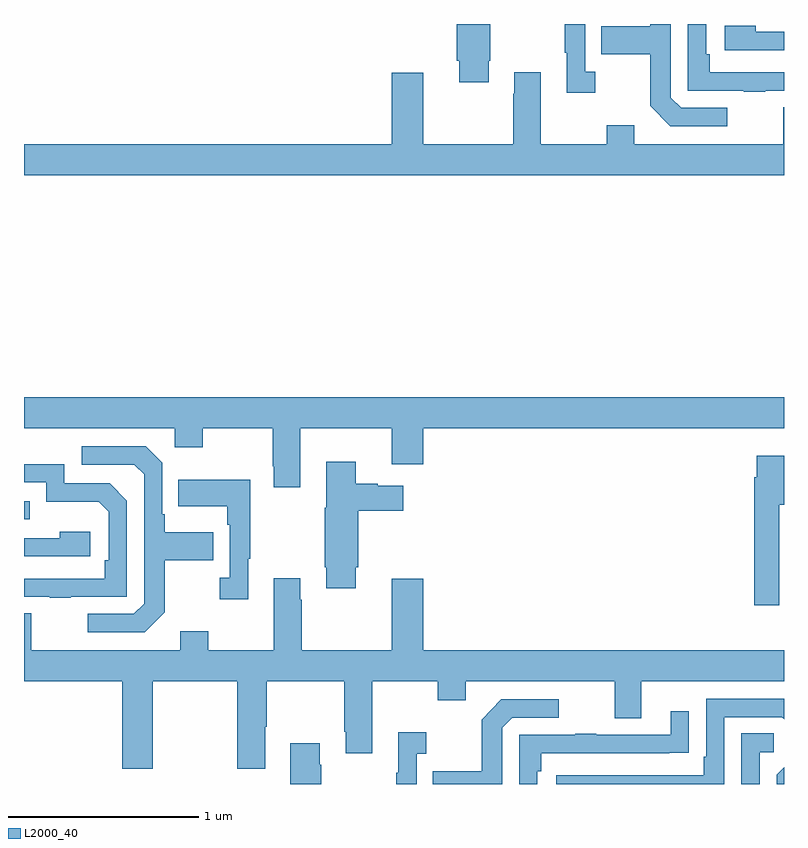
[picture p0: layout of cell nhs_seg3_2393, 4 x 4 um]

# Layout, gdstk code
import gdstk
lib = gdstk.Library(unit=1e-6, precision=1e-09)
def R(c, l, rs):  # rectangles x0, y0, x1, y1
    for r in rs: c.add(gdstk.rectangle(r[:2], r[2:], *l))
def P(c, l, *ps):  # polygons
    for p in ps: c.add(gdstk.Polygon(p, *l))
L2000_40 = (2000, 40)

nhs_seg3_2393 = lib.new_cell('nhs_seg3_2393')
R(nhs_seg3_2393, L2000_40, [(235,677.793,235.031,677.889)])
P(nhs_seg3_2393, L2000_40, [(238.702,679.959),(238.458,679.959),(238.404,680.013),(238.404,680.4),(238.296,680.4),(238.296,680.389),(238.039,680.389),(238.039,680.242),(238.296,680.242),(238.296,679.969),(238.401,679.863),(238.702,679.863)],
  [(238.901,680.049),(239,680.049),(239,680.145),(238.61,680.145),(238.61,680.242),(238.59,680.242),(238.59,680.4),(238.494,680.4),(238.494,680.049),(238.789,680.049),(238.789,680.044),(238.901,680.044)],
  [(238.006,680.15),(237.954,680.15),(237.954,680.4),(237.846,680.4),(237.846,680.249),(237.857,680.249),(237.857,680.037),(238.006,680.037)],
  [(237.445,680.206),(237.453,680.206),(237.453,680.4),(237.278,680.4),(237.278,680.206),(237.29,680.206),(237.29,680.094),(237.445,680.094)],
  [(239,680.358),(238.85,680.358),(238.85,680.392),(238.689,680.392),(238.689,680.262),(239,680.262)],
  [(239,679.963),(238.997,679.963),(238.997,679.768),(238.213,679.768),(238.213,679.867),(238.066,679.867),(238.066,679.768),(237.721,679.768),(237.721,680.146),(237.581,680.146),(237.581,680.033),(237.574,680.033),(237.574,679.768),(237.1,679.768),(237.1,680.143),(236.936,680.143),(236.936,679.768),(235,679.768),(235,679.604),(239,679.604)],
  [(236.455,678.272),(236.936,678.272),(236.936,678.084),(237.1,678.084),(237.1,678.272),(239,678.272),(239,678.436),(235,678.436),(235,678.272),(235.794,678.272),(235.794,678.173),(235.941,678.173),(235.941,678.272),(236.308,678.272),(236.308,678.073),(236.315,678.073),(236.315,677.961),(236.455,677.961)],
  [(235.741,677.305),(235.741,677.578),(235.997,677.578),(235.997,677.725),(235.741,677.725),(235.741,677.821),(235.728,677.821),(235.728,678.09),(235.641,678.177),(235.305,678.177),(235.305,678.081),(235.581,678.081),(235.632,678.03),(235.632,677.349),(235.578,677.295),(235.335,677.295),(235.335,677.199),(235.635,677.199)],
  [(238.975,677.871),(239,677.871),(239,678.127),(238.856,678.127),(238.856,678.014),(238.844,678.014),(238.844,677.34),(238.975,677.34)],
  [(236.746,677.542),(236.759,677.542),(236.759,677.837),(236.995,677.837),(236.995,677.971),(236.862,677.971),(236.862,677.979),(236.746,677.979),(236.746,678.097),(236.591,678.097),(236.591,677.853),(236.584,677.853),(236.584,677.542),(236.591,677.542),(236.591,677.43),(236.746,677.43)],
  [(235.247,677.385),(235.542,677.385),(235.542,677.892),(235.452,677.982),(235.212,677.982),(235.212,678.084),(235,678.084),(235,677.988),(235.116,677.988),(235.116,677.885),(235.393,677.885),(235.446,677.832),(235.446,677.578),(235.426,677.578),(235.426,677.481),(235,677.481),(235,677.385),(235.135,677.385),(235.135,677.38),(235.247,677.38)],
  [(236.179,677.585),(236.191,677.585),(236.191,678.001),(235.813,678.001),(235.813,677.861),(236.07,677.861),(236.07,677.765),(236.082,677.765),(236.082,677.486),(236.031,677.486),(236.031,677.373),(236.179,677.373)],
  [(235.348,677.728),(235.187,677.728),(235.187,677.694),(235,677.694),(235,677.598),(235.348,677.598)],
  [(235.677,676.94),(236.122,676.94),(236.122,676.479),(236.269,676.479),(236.269,676.702),(236.277,676.702),(236.277,676.94),(236.686,676.94),(236.686,676.675),(236.693,676.675),(236.693,676.563),(236.833,676.563),(236.833,676.94),(237.178,676.94),(237.178,676.841),(237.325,676.841),(237.325,676.94),(238.109,676.94),(238.109,676.746),(238.249,676.746),(238.249,676.94),(239,676.94),(239,677.104),(237.1,677.104),(237.1,677.479),(236.936,677.479),(236.936,677.104),(236.463,677.104),(236.463,677.369),(236.455,677.369),(236.455,677.482),(236.315,677.482),(236.315,677.104),(235.971,677.104),(235.971,677.203),(235.823,677.203),(235.823,677.104),(235.039,677.104),(235.039,677.299),(235,677.299),(235,676.94),(235.517,676.94),(235.517,676.479),(235.677,676.479)],
  [(238.686,676.752),(238.989,676.752),(239,676.741),(239,676.848),(238.59,676.848),(238.59,676.543),(238.577,676.543),(238.577,676.446),(237.801,676.446),(237.801,676.4),(238.686,676.4)],
  [(237.516,676.695),(237.57,676.749),(237.814,676.749),(237.814,676.845),(237.513,676.845),(237.408,676.739),(237.408,676.467),(237.151,676.467),(237.151,676.4),(237.516,676.4)],
  [(237.702,676.466),(237.722,676.466),(237.722,676.563),(238.397,676.563),(238.397,676.564),(238.499,676.564),(238.499,676.783),(238.403,676.783),(238.403,676.659),(238.013,676.659),(238.013,676.664),(237.901,676.664),(237.901,676.659),(237.606,676.659),(237.606,676.4),(237.702,676.4)],
  [(237.066,676.559),(237.118,676.559),(237.118,676.672),(236.969,676.672),(236.969,676.459),(236.958,676.459),(236.958,676.4),(237.066,676.4)],
  [(238.872,676.566),(238.945,676.566),(238.945,676.667),(238.776,676.667),(238.776,676.4),(238.872,676.4)],
  [(236.565,676.502),(236.557,676.502),(236.557,676.615),(236.402,676.615),(236.402,676.4),(236.565,676.4)],
  [(239,676.488),(238.962,676.45),(238.962,676.4),(239,676.4)])

lib.write_gds('nhs_seg3_2393.gds')
